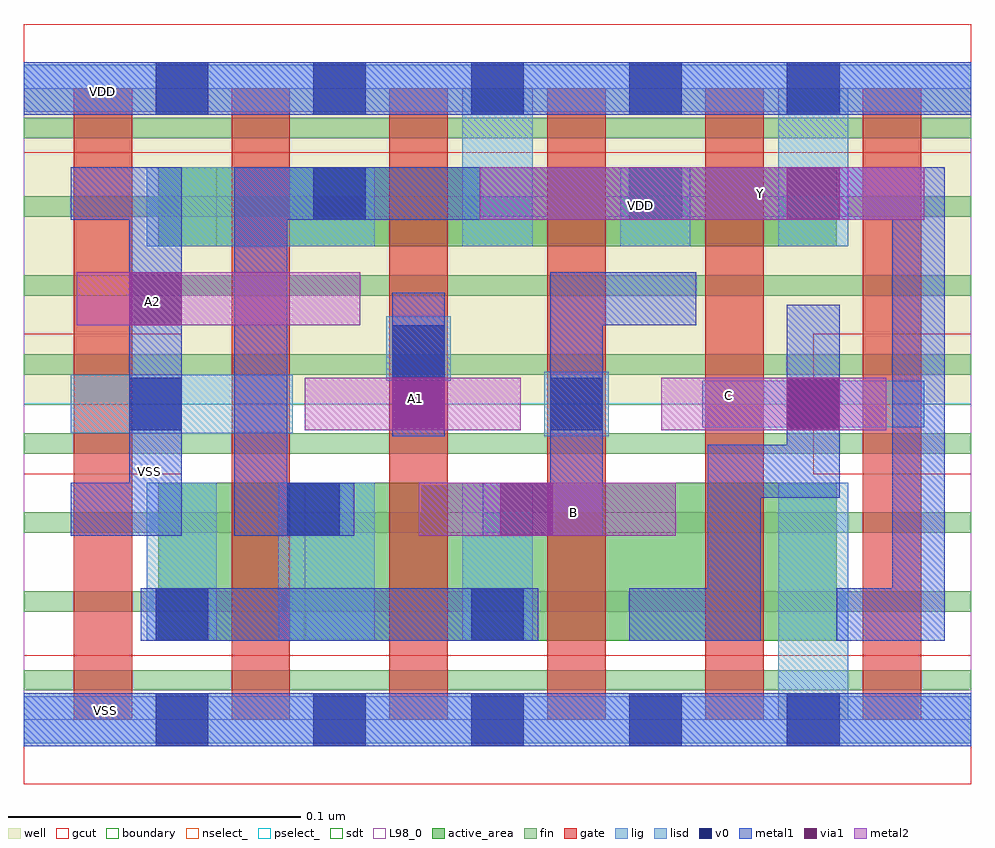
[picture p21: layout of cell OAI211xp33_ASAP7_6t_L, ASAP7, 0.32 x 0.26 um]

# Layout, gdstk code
import gdstk
lib = gdstk.Library(unit=1e-6, precision=2.5e-10)
def R(c, l, rs):  # rectangles x0, y0, x1, y1
    for r in rs: c.add(gdstk.rectangle(r[:2], r[2:], *l))
def A(c, l, x, y, w, h, nx, ny, dx, dy):  # array of equal rectangles
    R(c, l, [(x+i*dx, y+j*dy, x+i*dx+w, y+j*dy+h) for i in range(nx) for j in range(ny)])
def P(c, l, *ps):  # polygons
    for p in ps: c.add(gdstk.Polygon(p, *l))
well = (1, 0)
fin = (2, 0)
gate = (7, 0)
gcut = (10, 0)
active_area = (11, 0)
nselect_ = (12, 0)
pselect_ = (13, 0)
lig = (16, 0)
lisd = (17, 0)
v0 = (18, 0)
metal1 = (19, 0)
metal2 = (20, 0)
via1 = (21, 0)
sdt = (88, 0)
L98_0 = (98, 0)
boundary = (100, 0)

oai211xp33_asap7_6t_l = lib.new_cell('OAI211xp33_ASAP7_6t_L')
R(oai211xp33_asap7_6t_l, well, [(0,0.108,0.324,0.216)])
A(oai211xp33_asap7_6t_l, fin, 0, 0.01, 0.324, 0.007, 1, 8, 0, 0.027)
A(oai211xp33_asap7_6t_l, gate, 0.017, 0, 0.02, 0.216, 6, 1, 0.054, 0)
R(oai211xp33_asap7_6t_l, gcut, [(0,-0.022,0.324,0.022), (0,0.084,0.054,0.132), (0.27,0.084,0.324,0.132), (0,0.194,0.324,0.238)])
R(oai211xp33_asap7_6t_l, active_area, [(0.046,0.027,0.278,0.081), (0.046,0.162,0.278,0.189)])
R(oai211xp33_asap7_6t_l, nselect_, [(0,0,0.324,0.108)])
R(oai211xp33_asap7_6t_l, pselect_, [(0,0.108,0.324,0.216)])
R(oai211xp33_asap7_6t_l, lig, [(0,-0.008,0.324,0.008), (0.178,0.097,0.2,0.119), (0.016,0.098,0.092,0.118), (0.232,0.1,0.308,0.116), (0.124,0.116,0.146,0.138), (0,0.208,0.324,0.224)])
R(oai211xp33_asap7_6t_l, lisd, [(0.258,0,0.282,0.081), (0.042,0.027,0.066,0.081), (0.087,0.027,0.12,0.081), (0.15,0.027,0.174,0.081), (0.042,0.162,0.12,0.189), (0.15,0.162,0.174,0.216), (0.204,0.162,0.228,0.189), (0.258,0.162,0.282,0.216)])
A(oai211xp33_asap7_6t_l, v0, 0.045, -0.009, 0.018, 0.018, 5, 2, 0.054, 0.216)
R(oai211xp33_asap7_6t_l, v0, [(0.045,0.027,0.063,0.045), (0.153,0.027,0.171,0.045), (0.09,0.063,0.108,0.081), (0.036,0.099,0.054,0.117), (0.18,0.099,0.198,0.117), (0.261,0.099,0.279,0.117), (0.126,0.117,0.144,0.135), (0.099,0.171,0.117,0.189), (0.207,0.171,0.225,0.189)])
R(oai211xp33_asap7_6t_l, metal1, [(0,-0.009,0.324,0.009), (0.04,0.027,0.176,0.045), (0.126,0.097,0.144,0.146), (0,0.207,0.324,0.225)])
P(oai211xp33_asap7_6t_l, metal1, [(0.315,0.189),(0.072,0.189),(0.072,0.063),(0.113,0.063),(0.113,0.081),(0.09,0.081),(0.09,0.171),(0.297,0.171),(0.297,0.045),(0.278,0.045),(0.278,0.027),(0.315,0.027)],
  [(0.279,0.142),(0.261,0.142),(0.261,0.094),(0.234,0.094),(0.234,0.045),(0.207,0.045),(0.207,0.027),(0.252,0.027),(0.252,0.076),(0.279,0.076)],
  [(0.23,0.153),(0.18,0.153),(0.18,0.081),(0.157,0.081),(0.157,0.063),(0.198,0.063),(0.198,0.135),(0.23,0.135)],
  [(0.054,0.189),(0.016,0.189),(0.016,0.171),(0.036,0.171),(0.036,0.081),(0.016,0.081),(0.016,0.063),(0.054,0.063)])
R(oai211xp33_asap7_6t_l, metal2, [(0.135,0.063,0.223,0.081), (0.096,0.099,0.17,0.117), (0.218,0.099,0.295,0.117), (0.018,0.135,0.115,0.153), (0.156,0.171,0.308,0.189)])
R(oai211xp33_asap7_6t_l, via1, [(0.163,0.063,0.181,0.081), (0.126,0.099,0.144,0.117), (0.261,0.099,0.279,0.117), (0.036,0.135,0.054,0.153), (0.261,0.171,0.279,0.189)])
A(oai211xp33_asap7_6t_l, sdt, 0.042, 0.027, 0.024, 0.054, 3, 1, 0.054, 0)
A(oai211xp33_asap7_6t_l, sdt, 0.15, 0.162, 0.024, 0.027, 3, 1, 0.054, 0)
R(oai211xp33_asap7_6t_l, sdt, [(0.258,0.027,0.282,0.081), (0.042,0.162,0.066,0.189)])
R(oai211xp33_asap7_6t_l, L98_0, [(0,0,0.324,0.216)])
R(oai211xp33_asap7_6t_l, boundary, [(0,0,0.324,0.216)])
oai211xp33_asap7_6t_l.add(gdstk.Label('VSS', (0.043,0.085), layer=3, texttype=251))
oai211xp33_asap7_6t_l.add(gdstk.Label('VDD', (0.211,0.176), layer=1, texttype=251))
oai211xp33_asap7_6t_l.add(gdstk.Label('VSS', (0.028,0.003), layer=19, texttype=251))
oai211xp33_asap7_6t_l.add(gdstk.Label('VDD', (0.027,0.215), layer=19, texttype=251))
oai211xp33_asap7_6t_l.add(gdstk.Label('A2', (0.044,0.143), layer=20, texttype=251))
oai211xp33_asap7_6t_l.add(gdstk.Label('C', (0.241,0.111), layer=20, texttype=251))
oai211xp33_asap7_6t_l.add(gdstk.Label('B', (0.188,0.071), layer=20, texttype=251))
oai211xp33_asap7_6t_l.add(gdstk.Label('A1', (0.134,0.11), layer=20, texttype=251))
oai211xp33_asap7_6t_l.add(gdstk.Label('Y', (0.252,0.18), layer=20, texttype=251))

lib.write_gds('OAI211xp33_ASAP7_6t_L.gds')
